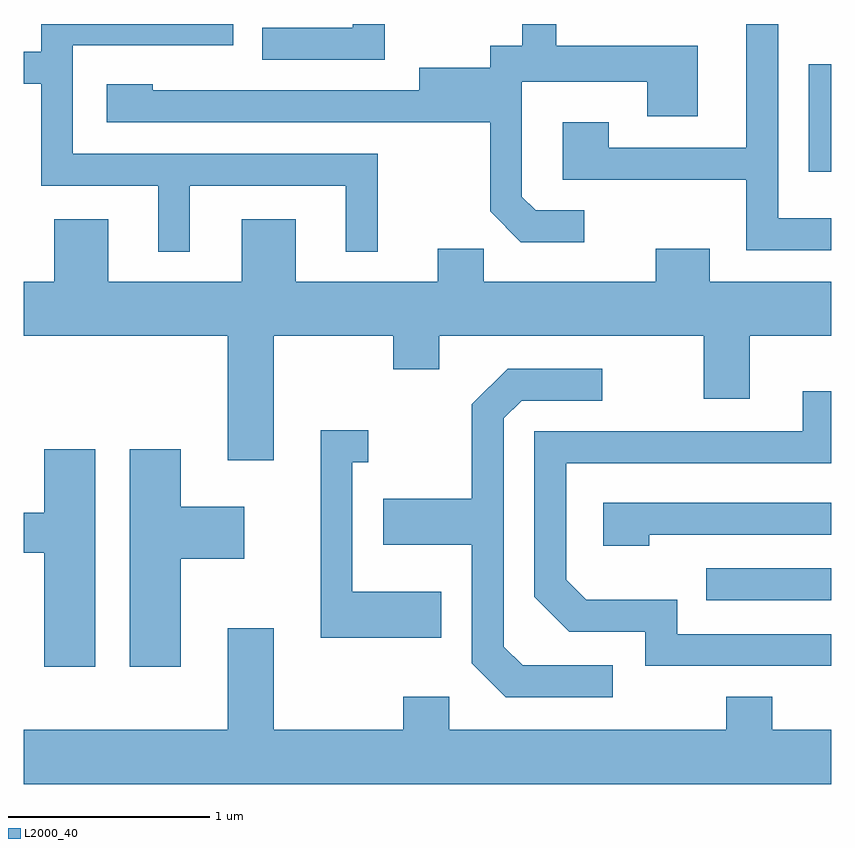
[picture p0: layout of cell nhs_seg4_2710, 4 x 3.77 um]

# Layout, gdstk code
import gdstk
lib = gdstk.Library(unit=1e-6, precision=1e-09)
def R(c, l, rs):  # rectangles x0, y0, x1, y1
    for r in rs: c.add(gdstk.rectangle(r[:2], r[2:], *l))
def P(c, l, *ps):  # polygons
    for p in ps: c.add(gdstk.Polygon(p, *l))
L2000_40 = (2000, 40)

nhs_seg4_2710 = lib.new_cell('nhs_seg4_2710')
R(nhs_seg4_2710, L2000_40, [(266.993,1371.126,267.611,1371.284), (267.501,1373.251,267.611,1373.783)])
P(nhs_seg4_2710, L2000_40, [(265.399,1373.982),(265.241,1373.982),(265.241,1373.964),(264.793,1373.964),(264.793,1373.806),(265.399,1373.806)],
  [(264.434,1373.181),(265.206,1373.181),(265.206,1372.853),(265.364,1372.853),(265.364,1373.339),(263.854,1373.339),(263.854,1373.876),(264.649,1373.876),(264.649,1373.982),(263.696,1373.982),(263.696,1373.844),(263.611,1373.844),(263.611,1373.686),(263.696,1373.686),(263.696,1373.181),(264.276,1373.181),(264.276,1372.853),(264.434,1372.853)],
  [(267.611,1373.019),(267.349,1373.019),(267.349,1373.982),(267.191,1373.982),(267.191,1373.369),(266.509,1373.369),(266.509,1373.494),(266.281,1373.494),(266.281,1373.211),(267.191,1373.211),(267.191,1372.861),(267.611,1372.861)],
  [(266.388,1373.059),(266.147,1373.059),(266.079,1373.127),(266.079,1373.696),(266.701,1373.696),(266.701,1373.526),(266.949,1373.526),(266.949,1373.874),(266.249,1373.874),(266.249,1373.982),(266.081,1373.982),(266.081,1373.874),(265.921,1373.874),(265.921,1373.764),(265.571,1373.764),(265.571,1373.654),(264.249,1373.654),(264.249,1373.684),(264.021,1373.684),(264.021,1373.496),(265.921,1373.496),(265.921,1373.054),(266.074,1372.901),(266.388,1372.901)],
  [(264.849,1372.436),(265.441,1372.436),(265.441,1372.271),(265.669,1372.271),(265.669,1372.436),(266.981,1372.436),(266.981,1372.126),(267.209,1372.126),(267.209,1372.436),(267.611,1372.436),(267.611,1372.704),(267.009,1372.704),(267.009,1372.869),(266.741,1372.869),(266.741,1372.704),(265.889,1372.704),(265.889,1372.869),(265.661,1372.869),(265.661,1372.704),(264.959,1372.704),(264.959,1373.014),(264.691,1373.014),(264.691,1372.704),(264.029,1372.704),(264.029,1373.014),(263.761,1373.014),(263.761,1372.704),(263.611,1372.704),(263.611,1372.436),(264.621,1372.436),(264.621,1371.821),(264.849,1371.821)],
  [(266.528,1370.804),(266.082,1370.804),(265.989,1370.897),(265.989,1372.029),(266.077,1372.116),(266.478,1372.116),(266.478,1372.274),(266.009,1372.274),(265.831,1372.097),(265.831,1371.629),(265.391,1371.629),(265.391,1371.401),(265.831,1371.401),(265.831,1370.814),(265.999,1370.646),(266.528,1370.646)],
  [(267.611,1370.959),(266.849,1370.959),(266.849,1371.129),(266.397,1371.129),(266.299,1371.227),(266.299,1371.806),(267.611,1371.806),(267.611,1372.163),(267.471,1372.163),(267.471,1371.964),(266.141,1371.964),(266.141,1371.144),(266.314,1370.971),(266.691,1370.971),(266.691,1370.801),(267.611,1370.801)],
  [(265.679,1371.169),(265.239,1371.169),(265.239,1371.811),(265.318,1371.811),(265.318,1371.969),(265.081,1371.969),(265.081,1370.941),(265.679,1370.941)],
  [(264.389,1371.331),(264.704,1371.331),(264.704,1371.589),(264.389,1371.589),(264.389,1371.874),(264.136,1371.874),(264.136,1370.796),(264.389,1370.796)],
  [(263.964,1371.874),(263.711,1371.874),(263.711,1371.559),(263.611,1371.559),(263.611,1371.361),(263.711,1371.361),(263.711,1370.796),(263.964,1370.796)],
  [(266.709,1371.451),(267.611,1371.451),(267.611,1371.609),(266.481,1371.609),(266.481,1371.396),(266.709,1371.396)],
  [(267.611,1370.484),(267.319,1370.484),(267.319,1370.649),(267.091,1370.649),(267.091,1370.484),(265.719,1370.484),(265.719,1370.649),(265.491,1370.649),(265.491,1370.484),(264.849,1370.484),(264.849,1370.989),(264.621,1370.989),(264.621,1370.484),(263.611,1370.484),(263.611,1370.216),(267.611,1370.216)])

lib.write_gds('nhs_seg4_2710.gds')
